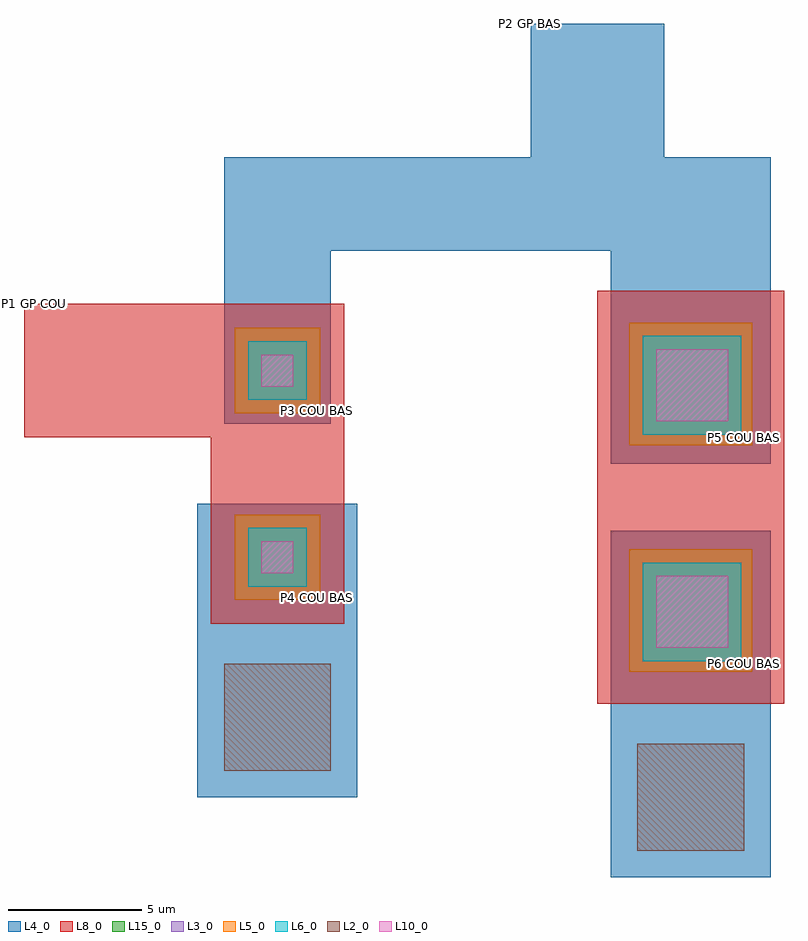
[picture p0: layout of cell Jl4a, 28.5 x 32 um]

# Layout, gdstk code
import gdstk
lib = gdstk.Library(unit=1e-6, precision=1e-09)
def R(c, l, rs):  # rectangles x0, y0, x1, y1
    for r in rs: c.add(gdstk.rectangle(r[:2], r[2:], *l))
L2_0 = (2, 0)
L3_0 = (3, 0)
L4_0 = (4, 0)
L5_0 = (5, 0)
L6_0 = (6, 0)
L8_0 = (8, 0)
L10_0 = (10, 0)
L15_0 = (15, 0)

jj100 = lib.new_cell('JJ100')
R(jj100, L3_0, [(-1.6,-1.6,1.6,1.6)])
R(jj100, L4_0, [(-2,-2,2,2)])
R(jj100, L5_0, [(-1.6,-1.6,1.6,1.6)])
R(jj100, L6_0, [(-1.1,-1.1,1.1,1.1)])
R(jj100, L8_0, [(-2.5,-2.5,2.5,2.5)])
R(jj100, L10_0, [(-0.6,-0.6,0.6,0.6)])

jj300 = lib.new_cell('JJ300')
R(jj300, L3_0, [(-2.3,-2.3,2.3,2.3)])
R(jj300, L4_0, [(-3,-3,3,3)])
R(jj300, L5_0, [(-2.3,-2.3,2.3,2.3)])
R(jj300, L6_0, [(-1.8,-1.9,1.9,1.8)])
R(jj300, L8_0, [(-3.5,-3.5,3.5,3.5)])
R(jj300, L10_0, [(-1.3,-1.4,1.4,1.3)])

jl4a = lib.new_cell('Jl4a')
R(jl4a, L2_0, [(70.5,0,74.5,4), (55,3,59,7)])
R(jl4a, L4_0, [(69.5,-1,75.5,6), (54,2,60,9), (54,9,55,13), (59,9,60,13), (55,20,59,22.5), (69.5,20.5,75.5,22.5), (55,22.5,75.5,26), (66.5,26,71.5,31)])
R(jl4a, L8_0, [(69,12.5,76,14), (54.5,13.5,59.5,15.5), (47.5,15.5,52.5,20.5), (52.5,15.5,54.5,20.5)])
R(jl4a, L15_0, [(70.2,6.7,74.8,11.3), (55.4,9.4,58.6,12.6), (70.2,15.2,74.8,19.8), (55.4,16.4,58.6,19.6)])
jl4a.add(gdstk.Reference(jj100, (57,18)))
jl4a.add(gdstk.Reference(jj300, (72.5,17.5)))
jl4a.add(gdstk.Reference(jj100, (57,11)))
jl4a.add(gdstk.Reference(jj300, (72.5,9)))
jl4a.add(gdstk.Label('P1 GP COU', (47.5,20.5), layer=18, texttype=0))
jl4a.add(gdstk.Label('P2 GP BAS', (66.5,31), layer=18, texttype=0))
jl4a.add(gdstk.Label('P3 COU BAS', (58.5,16.5), layer=18, texttype=0))
jl4a.add(gdstk.Label('P4 COU BAS', (58.5,9.5), layer=18, texttype=0))
jl4a.add(gdstk.Label('P5 COU BAS', (74.5,15.5), layer=18, texttype=0))
jl4a.add(gdstk.Label('P6 COU BAS', (74.5,7), layer=18, texttype=0))

lib.write_gds('Jl4a.gds')
